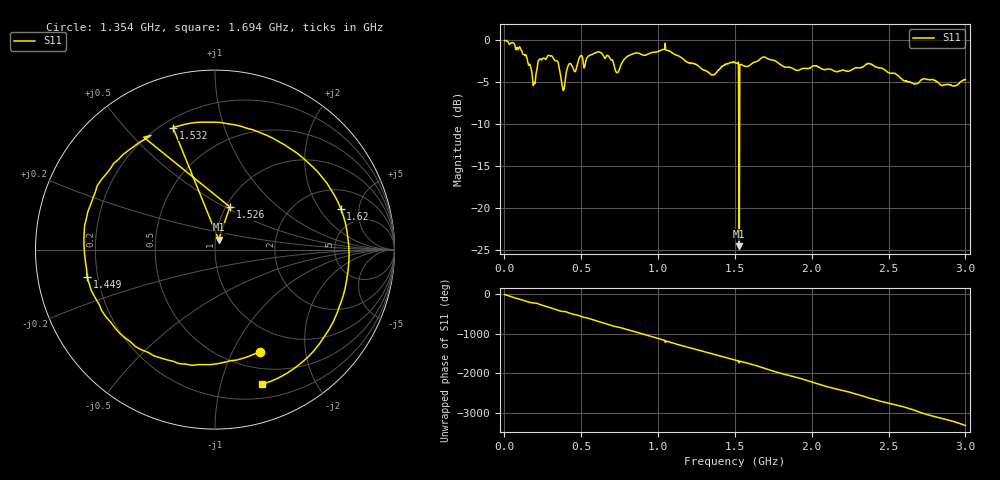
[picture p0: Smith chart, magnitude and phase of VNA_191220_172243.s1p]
! created by david at Fri Dec 20 17:22:43 COT 2019
! generated using vna/J Version 3.3.2
# Hz S DB R 50
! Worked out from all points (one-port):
!   1014 points, 1 MHz to 3 GHz, reference 50 ohm
!   lowest |S11| = -24.6 dB at 1.529 GHz (marker M1), VSWR 1.13, Z = 51.7 + j5.75 ohm
!   |S11| at or under -10 dB: 1.525041 GHz to 1.530612 GHz (5.572 MHz wide, 0.365 % of centre)
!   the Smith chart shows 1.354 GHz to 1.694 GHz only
!   S11 on the Smith chart (normalised r, x): 1.354 GHz: 0.69, -1.29; 1.449 GHz: 0.16, -0.10; 1.526 GHz: 1.04, +0.53; 1.532 GHz: 0.24, +0.68; 1.62 GHz: 3.22, +3.22; 1.694 GHz: 0.33, -1.35
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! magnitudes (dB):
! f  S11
! 1 MHz  0.0
! 110.5 MHz  -1.2
! 190.5 MHz  -5.2
! 231.9 MHz  -2.2
! 305.9 MHz  -1.8
! 377 MHz  -5.5
! 421.4 MHz  -2.8
! 599 MHz  -1.4
! 753 MHz  -3.2
! 847.7 MHz  -1.5
! 1.126 GHz  -1.8
! 1.354 GHz  -4.1
! 1.449 GHz  -2.7
! 1.502 GHz  -2.7
! 1.508 GHz  -2.7
! 1.514 GHz  -2.7
! 1.526 GHz  -12.0
! 1.529 GHz  -24.6
! 1.532 GHz  -2.9
! 1.54 GHz  -2.9
! 1.546 GHz  -2.9
! 1.62 GHz  -2.7
! 1.694 GHz  -2.0
! 1.878 GHz  -3.4
! 2.251 GHz  -3.6
! 2.378 GHz  -2.8
! 2.627 GHz  -4.9
! 3 GHz  -4.7
